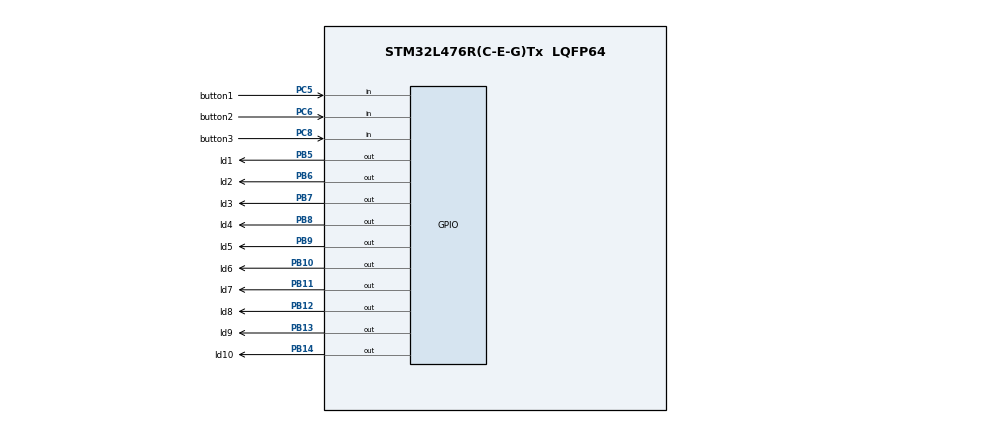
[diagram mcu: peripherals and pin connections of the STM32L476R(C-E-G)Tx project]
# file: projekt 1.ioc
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Mcu.Family=STM32L4
Mcu.Name=STM32L476R(C-E-G)Tx
Mcu.Package=LQFP64
NVIC.PriorityGroup=NVIC_PRIORITYGROUP_4
PB10.GPIO_Label=ld6
PB10.Signal=GPIO_Output
PB11.GPIO_Label=ld7
PB11.Signal=GPIO_Output
PB12.GPIO_Label=ld8
PB12.Signal=GPIO_Output
PB13.GPIO_Label=ld9
PB13.Signal=GPIO_Output
PB14.GPIO_Label=ld10
PB14.Signal=GPIO_Output
PB5.GPIO_Label=ld1
PB5.Signal=GPIO_Output
PB6.GPIO_Label=ld2
PB6.Signal=GPIO_Output
PB7.GPIO_Label=ld3
PB7.Signal=GPIO_Output
PB8.GPIO_Label=ld4
PB8.Signal=GPIO_Output
PB9.GPIO_Label=ld5
PB9.Signal=GPIO_Output
PC5.GPIO_Label=button1
PC5.GPIO_PuPd=GPIO_PULLUP
PC5.Signal=GPIO_Input
PC6.GPIO_Label=button2
PC6.GPIO_PuPd=GPIO_PULLUP
PC6.Signal=GPIO_Input
PC8.GPIO_Label=button3
PC8.GPIO_PuPd=GPIO_PULLUP
PC8.Signal=GPIO_Input
ProjectManager.HeapSize=0x200
ProjectManager.StackSize=0x400
ProjectManager.TargetToolchain=STM32CubeIDE
RCC.ADCFreq_Value=32000000
RCC.HSE_VALUE=8000000
RCC.HSI_VALUE=16000000
RCC.LSE_VALUE=32768
RCC.MSI_VALUE=4000000
RCC.PLLSAI1N=16
RCC.USBFreq_Value=32000000
RCC.VCOOutputFreq_Value=32000000
VP_RNG_VS_RNG.Mode=RNG_Activate
board=custom

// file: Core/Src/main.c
/* USER CODE BEGIN Header */
/**
  ******************************************************************************
  * @file           : main.c
  * @brief          : Main program body
  ******************************************************************************
  * @attention
  *
  * Copyright (c) 2024 STMicroelectronics.
  * All rights reserved.
  *
  * This software is licensed under terms that can be found in the LICENSE file
  * in the root directory of this software component.
  * If no LICENSE file comes with this software, it is provided AS-IS.
  *
  ******************************************************************************
  */
/* USER CODE END Header */
#include "main.h"

/* USER CODE BEGIN Includes */
#include "stdbool.h"
/* USER CODE END Includes */

/* USER CODE BEGIN PTD */
typedef struct
{
	GPIO_TypeDef* port;
	uint16_t pin;
}	pin_port_t;

typedef void (*button_event_t)();

typedef struct
{
	GPIO_PinState lastState;
	pin_port_t buttonPin;
	button_event_t onRelease;
	button_event_t onLongPress;
	uint32_t bounceStartTimeMillis;
	uint32_t longPressTimeMillis;
} button_t;

typedef enum
{
	MODE_MANUAL,
	MODE_ANIMATED
} mode_t;

typedef enum {
	BACKWARD = -1,
	FORWARD = 1
} direction_t;

typedef void (*transition_handler_t)();

typedef enum {
	TRANSITION_SIMPLE,
	TRANSITION_BOUNCE,
	TRANSITION_TOGGLE_SIMPLE,
	TRANSITION_TOGGLE_BOUNCE,
	TRANSITION_TWOCOLORS,
	TRANSITION_CROSSROADS,
	TRANSITION_NOISE,
	TRANSITION_RAINDROPS,
	TRANSITIONS_COUNT
} transition_t;

/* USER CODE END PTD */

/* USER CODE BEGIN PD */

#define BOUNCE_TIME_MILLIS 50
#define LONGPRESS_TIME_MILLIS 500

#define TRANSITION_INITIAL_LEVEL 8
#define TRANSITION_INTERVAL_BASE 2

/* USER CODE END PD */

/* USER CODE BEGIN PM */

#define ARRLEN(x) (sizeof(x)/sizeof(x)[0])

/* USER CODE END PM */

RNG_HandleTypeDef hrng;

/* USER CODE BEGIN PV */
static int led = 0;

static const pin_port_t ld[] = {
		{ ld1_GPIO_Port, ld1_Pin },
		{ ld2_GPIO_Port, ld2_Pin },
		{ ld3_GPIO_Port, ld3_Pin },
		{ ld4_GPIO_Port, ld4_Pin },
		{ ld5_GPIO_Port, ld5_Pin },
		{ ld6_GPIO_Port, ld6_Pin },
		{ ld7_GPIO_Port, ld7_Pin },
		{ ld8_GPIO_Port, ld8_Pin },
		{ ld9_GPIO_Port, ld9_Pin },
		{ ld10_GPIO_Port, ld10_Pin }
};
static const int LEDS_COUNT = ARRLEN(ld);
static uint32_t interval = 128;
static uint32_t transitionTimer = 0;

static direction_t direction = FORWARD;
static int intervalLevel = TRANSITION_INITIAL_LEVEL;

static mode_t mode = MODE_MANUAL;

static transition_t transition = TRANSITION_SIMPLE;

static uint32_t randResult = 0;
static int rainAnimationStage;
/* USER CODE END PV */

void SystemClock_Config(void);
static void MX_GPIO_Init(void);
static void MX_RNG_Init(void);
/* USER CODE BEGIN PFP */
void ld_set(int led, bool turn_on);
void ld_toogle();
int randLED();
void checkButtonsEvents();
void animate(bool force);
void longPressBackward();
void longPressForward();
void changeMode();
void pressBackward();
void pressForward();
void changeTransition();
void simpleTransitionAnimation();
void bounceAnimation();
void toggleSimpleAnimation();
void bounceToggleAnimation();
void twocolorsAnimation();
void crossroadsAnimation();
void noiseAnimation();
void raindropsAnimation();
/* USER CODE END PFP */

/* USER CODE BEGIN 0 */

//Dioda
void ld_set(int led, bool turn_on)
{
	GPIO_PinState state = (turn_on) ? GPIO_PIN_SET : GPIO_PIN_RESET;

	if (led >= 0 && led < 10)
		HAL_GPIO_WritePin(ld[led].port, ld[led].pin, state);
}

void leds_clear()
{
	for(int i = 0; i < LEDS_COUNT; ++i)
		ld_set(i, false);
}

//Przycisk
static button_t buttons[]= {
		{GPIO_PIN_RESET, {button1_GPIO_Port, button1_Pin}, pressBackward, longPressBackward, 0, 0},
		{GPIO_PIN_RESET, {button2_GPIO_Port, button2_Pin}, pressForward, longPressForward, 0, 0},
		{GPIO_PIN_RESET, {button3_GPIO_Port, button3_Pin}, changeTransition, changeMode, 0, 0}
};

static const int buttonsCount = ARRLEN(buttons);

void checkButtonsEvents()
{
	uint32_t millis = HAL_GetTick();

	for (int i = 0; i < buttonsCount; ++i)
	{
		button_t *button = &buttons[i];

		if (millis - button->bounceStartTimeMillis > BOUNCE_TIME_MILLIS)
		{
			GPIO_TypeDef *port = button->buttonPin.port;
			int pin = button->buttonPin.pin;
			GPIO_PinState currentState = HAL_GPIO_ReadPin(port, pin);

			if (button->lastState == GPIO_PIN_RESET	&& currentState == GPIO_PIN_SET)
			{
				//on release event
				if (button->longPressTimeMillis > 0)
				{
					button->bounceStartTimeMillis = millis;
					button->onRelease();
				}
			}

			else if (button->lastState == GPIO_PIN_SET && currentState == GPIO_PIN_RESET)
			{
				//on press event -> on longpress event
				button->longPressTimeMillis = millis;
			}

			else if (currentState == GPIO_PIN_RESET)
			{
				if (button->longPressTimeMillis > 0)
				{
					if(millis - button->longPressTimeMillis > LONGPRESS_TIME_MILLIS){
						button->longPressTimeMillis = 0;
						button->onLongPress();
					}
				}
			}

			button->lastState = currentState;
		}
	}
}

//Tryby pracy
static const transition_handler_t animations[TRANSITIONS_COUNT] = {simpleTransitionAnimation, bounceAnimation, toggleSimpleAnimation, bounceToggleAnimation,
		                                                           twocolorsAnimation, crossroadsAnimation, noiseAnimation, raindropsAnimation};

void animate(bool force)
{
	if(force || ((mode == MODE_ANIMATED) && (HAL_GetTick() - transitionTimer > interval)))
	{
		animations[transition]();

		if(!force)
			transitionTimer += interval;
	}
}

uint32_t powint(uint32_t base, int power){
	uint32_t result = 1;
	for (int i = 0; i < power; ++i)
		result *= base;
	return result;
}

void pressForward() {
	if(mode == MODE_MANUAL){
		direction = FORWARD;
		animate(true);
	}
	else {
		if(--intervalLevel < 1)
			intervalLevel = 1;
		interval = powint(TRANSITION_INTERVAL_BASE, intervalLevel);
	}
}

void pressBackward() {
	if(mode == MODE_MANUAL){
		direction = BACKWARD;
		animate(true);
	}
	else{
		++intervalLevel;
		interval = powint(TRANSITION_INTERVAL_BASE, intervalLevel);
	}
}

void longPressBackward()
{
	direction = FORWARD;
}
void longPressForward()
{
	direction = BACKWARD;
}
void changeMode()
{
	if(mode == MODE_MANUAL)
	{
		transitionTimer = HAL_GetTick();
		mode = MODE_ANIMATED;
	}
	else
		mode = MODE_MANUAL;
	return;
}

void changeTransition()
{
	if(mode != MODE_MANUAL){
		transitionTimer = HAL_GetTick();
		leds_clear();
		led = 0;
		direction = FORWARD;
	}

	if(++transition >= TRANSITIONS_COUNT)
		transition = TRANSITION_SIMPLE;
}

//Animacje
int randLED()
{
	HAL_RNG_GenerateRandomNumber(&hrng, &randResult);
	return randResult % LEDS_COUNT;
}

void simpleTransitionAnimation()
{

	ld_set(led, false);

	led += direction;
	if(direction == BACKWARD && led < 0)
		led += LEDS_COUNT;
	else if(direction == FORWARD && led >= LEDS_COUNT)
		led -= LEDS_COUNT;

	ld_set(led, true);
}

void bounceAnimation()
{
	ld_set(led, false);

	led += direction;
	if(direction == BACKWARD && led < 0)
	{
		led = -led;
		direction = FORWARD;
	}
	else if(direction == FORWARD && led >= LEDS_COUNT)
	{
		led = led - LEDS_COUNT + 1;
		led = LEDS_COUNT - led - 1;
		direction = BACKWARD;
	}

	ld_set(led, true);
}

void led_toggle(int led)
{
	if (led >= 0 && led < LEDS_COUNT)
		HAL_GPIO_TogglePin(ld[led].port, ld[led].pin);
}

void toggleSimpleAnimation()
{
	led_toggle(led);

	led += direction;
	if(direction == BACKWARD && led < 0)
		led += LEDS_COUNT;
	else if(direction == FORWARD && led >= LEDS_COUNT)
		led -= LEDS_COUNT;
}

void bounceToggleAnimation()
{
	led_toggle(led);

	led += direction;
	if(direction == BACKWARD && led < 0){
		led = -led-1;
		direction = FORWARD;
	}
	else if(direction == FORWARD && led >= LEDS_COUNT){
		led = led - LEDS_COUNT + 1;
		led = LEDS_COUNT - led ;
		direction = BACKWARD;
	}
}

void twocolorsAnimation()
{
	for (int i = 0; i < LEDS_COUNT/2; ++i)
		ld_set(i*2+led, false);

	led ^= 1;

	for (int i = 0; i < LEDS_COUNT/2; ++i)
		ld_set(i*2+led, true);
}

void crossroadsAnimation()
{
	ld_set(led, false);
	ld_set(LEDS_COUNT - led - 1, false);

	led += direction;
	if(direction == BACKWARD && led < 0)
		led += LEDS_COUNT;
	else if(direction == FORWARD && led >= LEDS_COUNT)
		led -= LEDS_COUNT;

	ld_set(led, true);
	ld_set(LEDS_COUNT - led - 1, true);
}

void noiseAnimation(){

	ld_set(led, false);

	led = randLED();

	ld_set(led, true);
}

void raindropsAnimation() {
	if(rainAnimationStage == 0) {
		led = randLED();
		ld_set(led, true);
	} else if(rainAnimationStage == 1) {
		ld_set(led - 1, true);
		ld_set(led + 1, true);
	} else if(rainAnimationStage == 2) {
		ld_set(led, false);
		ld_set(led - 2, true);
		ld_set(led + 2, true);
	} else if(rainAnimationStage == 3) {
		ld_set(led - 1, false);
		ld_set(led + 1, false);
	} else if(rainAnimationStage == 4) {
		ld_set(led - 2, false);
		ld_set(led + 2, false);
	}

	if(++rainAnimationStage > 4)
		rainAnimationStage = 0;
}
/* USER CODE END 0 */

int main(void)
{

  /* MCU Configuration--------------------------------------------------------*/

  /* Reset of all peripherals, Initializes the Flash interface and the Systick. */
  HAL_Init();

  /* Configure the system clock */
  SystemClock_Config();

  /* Initialize all configured peripherals */
  MX_GPIO_Init();
  MX_RNG_Init();

  /* Infinite loop */
  /* USER CODE BEGIN WHILE */

  while (1)
  {
	 checkButtonsEvents();
	 animate(false);
    /* USER CODE END WHILE */

  }
}

void SystemClock_Config(void)
{
  RCC_OscInitTypeDef RCC_OscInitStruct = {0};
  RCC_ClkInitTypeDef RCC_ClkInitStruct = {0};

  /** Configure the main internal regulator output voltage
  */
  if (HAL_PWREx_ControlVoltageScaling(PWR_REGULATOR_VOLTAGE_SCALE1) != HAL_OK)
  {
    Error_Handler();
  }

  /** Initializes the RCC Oscillators according to the specified parameters
  * in the RCC_OscInitTypeDef structure.
  */
  RCC_OscInitStruct.OscillatorType = RCC_OSCILLATORTYPE_MSI;
  RCC_OscInitStruct.MSIState = RCC_MSI_ON;
  RCC_OscInitStruct.MSICalibrationValue = 0;
  RCC_OscInitStruct.MSIClockRange = RCC_MSIRANGE_6;
  RCC_OscInitStruct.PLL.PLLState = RCC_PLL_NONE;
  if (HAL_RCC_OscConfig(&RCC_OscInitStruct) != HAL_OK)
  {
    Error_Handler();
  }

  /** Initializes the CPU, AHB and APB buses clocks
  */
  RCC_ClkInitStruct.ClockType = RCC_CLOCKTYPE_HCLK|RCC_CLOCKTYPE_SYSCLK
                              |RCC_CLOCKTYPE_PCLK1|RCC_CLOCKTYPE_PCLK2;
  RCC_ClkInitStruct.SYSCLKSource = RCC_SYSCLKSOURCE_MSI;
  RCC_ClkInitStruct.AHBCLKDivider = RCC_SYSCLK_DIV1;
  RCC_ClkInitStruct.APB1CLKDivider = RCC_HCLK_DIV1;
  RCC_ClkInitStruct.APB2CLKDivider = RCC_HCLK_DIV1;

  if (HAL_RCC_ClockConfig(&RCC_ClkInitStruct, FLASH_LATENCY_0) != HAL_OK)
  {
    Error_Handler();
  }
}

static void MX_RNG_Init(void)
{

  hrng.Instance = RNG;
  if (HAL_RNG_Init(&hrng) != HAL_OK)
  {
    Error_Handler();
  }

}

static void MX_GPIO_Init(void)
{
  GPIO_InitTypeDef GPIO_InitStruct = {0};

  /* GPIO Ports Clock Enable */
  __HAL_RCC_GPIOC_CLK_ENABLE();
  __HAL_RCC_GPIOB_CLK_ENABLE();

  /*Configure GPIO pin Output Level */
  HAL_GPIO_WritePin(GPIOB, ld6_Pin|ld7_Pin|ld8_Pin|ld9_Pin
                          |ld10_Pin|ld1_Pin|ld2_Pin|ld3_Pin
                          |ld4_Pin|ld5_Pin, GPIO_PIN_RESET);

  /*Configure GPIO pins : button1_Pin button2_Pin button3_Pin */
  GPIO_InitStruct.Pin = button1_Pin|button2_Pin|button3_Pin;
  GPIO_InitStruct.Mode = GPIO_MODE_INPUT;
  GPIO_InitStruct.Pull = GPIO_PULLUP;
  HAL_GPIO_Init(GPIOC, &GPIO_InitStruct);

  /*Configure GPIO pins : ld6_Pin ld7_Pin ld8_Pin ld9_Pin
                           ld10_Pin ld1_Pin ld2_Pin ld3_Pin
                           ld4_Pin ld5_Pin */
  GPIO_InitStruct.Pin = ld6_Pin|ld7_Pin|ld8_Pin|ld9_Pin
                          |ld10_Pin|ld1_Pin|ld2_Pin|ld3_Pin
                          |ld4_Pin|ld5_Pin;
  GPIO_InitStruct.Mode = GPIO_MODE_OUTPUT_PP;
  GPIO_InitStruct.Pull = GPIO_NOPULL;
  GPIO_InitStruct.Speed = GPIO_SPEED_FREQ_LOW;
  HAL_GPIO_Init(GPIOB, &GPIO_InitStruct);

}

void Error_Handler(void)
{
  __disable_irq();
  while (1)
  {
  }
}
